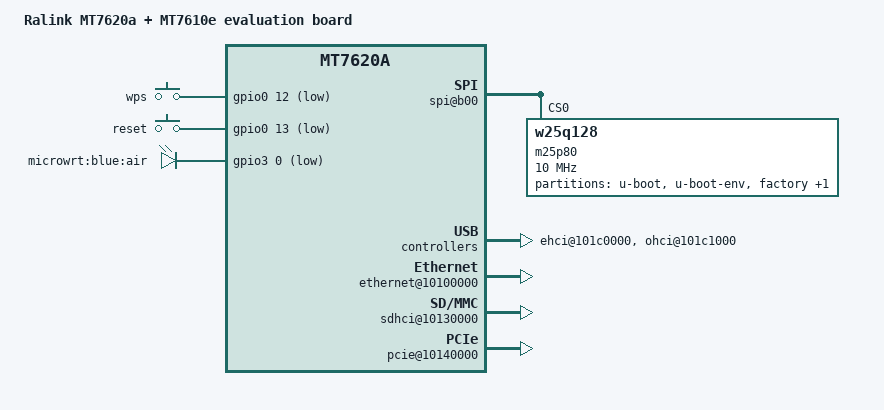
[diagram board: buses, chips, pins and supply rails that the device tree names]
/dts-v1/;

/include/ "mt7620a.dtsi"

/ {
	compatible = "ralink,mt7620a-eval-board", "ralink,mt7620a-soc";
	model = "Ralink MT7620a + MT7610e evaluation board";

	palmbus@10000000 {
		gpio0: gpio@600 {
                        status = "okay";
                };
                gpio3: gpio@688 {
                        status = "okay";
                };

		spi@b00 {
			status = "okay";

			m25p80@0 {
				#address-cells = <1>;
				#size-cells = <1>;
				compatible = "w25q128";
				reg = <0 0>;
				linux,modalias = "m25p80", "w25q128";
				spi-max-frequency = <10000000>;

				partition@0 {
					label = "u-boot";
					reg = <0x0 0x30000>;
					read-only;
				};

				partition@30000 {
					label = "u-boot-env";
					reg = <0x30000 0x10000>;
					read-only;
				};

				factory: partition@40000 {
					label = "factory";
					reg = <0x40000 0x10000>;
					read-only;
				};

				partition@50000 {
					label = "firmware";
					reg = <0x50000 0xfb0000>;
				};
			};
		};
	};

	pinctrl {
		state_default: pinctrl0 {
			gpio {
				ralink,group = "i2c", "uartf","wled";
				ralink,function = "gpio";
			};
		};
	};

	ehci@101c0000 {
                status = "okay";
        };

        ohci@101c1000 {
                status = "okay";
        };

	ethernet@10100000 {
		status = "okay";

		pinctrl-names = "default";
		pinctrl-0 = <&ephy_pins>;

		ralink,port-map = "llllw";
	};

	gsw@10110000 {
		ralink,port4 = "gmac";
	};

	sdhci@10130000 {
		status = "okay";
	};

	pcie@10140000 {
		status = "okay";
	};
	
	gpio-keys-polled {
                compatible = "gpio-keys","gpio-keys-polled";
                #address-cells = <1>;
                #size-cells = <0>;
                poll-interval = <20>;
                wps {
                        label = "wps";
                        gpios = <&gpio0 12 1>;
                        linux,code = <0x100>;
                        linux,input-type = <0x05>;
                };
                reset {
                        label = "reset";
                        gpios = <&gpio0 13 1>;
                        linux,code = <0x101>;
                        linux,input-type = <0x05>;
                };
        };
        gpio-leds {
                compatible = "gpio-leds";
                air {
                        label = "microwrt:blue:air";
                        gpios = <&gpio3 0 1>;
                };
        };
};
